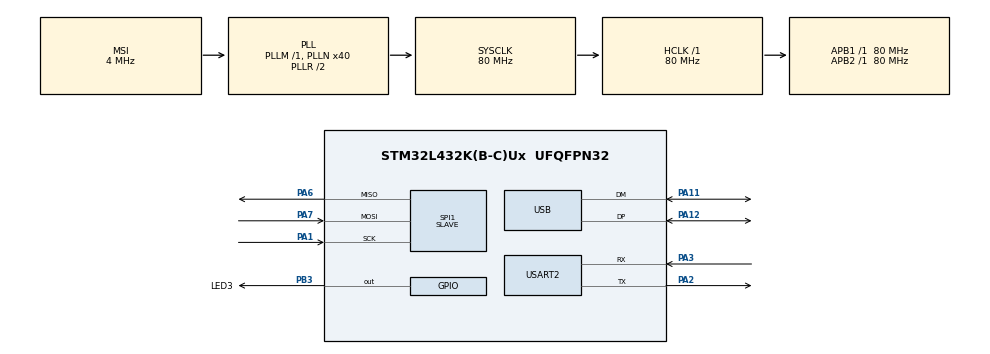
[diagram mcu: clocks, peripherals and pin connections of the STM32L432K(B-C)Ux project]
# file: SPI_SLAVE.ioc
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Mcu.Family=STM32L4
Mcu.Name=STM32L432K(B-C)Ux
Mcu.Package=UFQFPN32
NVIC.PriorityGroup=NVIC_PRIORITYGROUP_4
NVIC.SPI1_IRQn=true\:0\:0\:false\:true\:true\:2\:true\:true
NVIC.TIM2_IRQn=true\:0\:0\:false\:true\:true\:1\:true\:true
NVIC.USART2_IRQn=true\:0\:0\:false\:true\:true\:3\:true\:true
PA0.Mode=HSE-External-Clock-Source-for-LittleOrca
PA0.Signal=RCC_CK_IN
PA1.Mode=Full_Duplex_Slave
PA1.Signal=SPI1_SCK
PA11.Mode=Device
PA11.Signal=USB_DM
PA12.Mode=Device
PA12.Signal=USB_DP
PA13\ (JTMS-SWDIO).Mode=Serial_Wire
PA13\ (JTMS-SWDIO).Signal=SYS_JTMS-SWDIO
PA14\ (JTCK-SWCLK).Mode=Serial_Wire
PA14\ (JTCK-SWCLK).Signal=SYS_JTCK-SWCLK
PA2.Mode=Asynchronous
PA2.Signal=USART2_TX
PA3.Mode=Asynchronous
PA3.Signal=USART2_RX
PA6.Mode=Full_Duplex_Slave
PA6.Signal=SPI1_MISO
PA7.Mode=Full_Duplex_Slave
PA7.Signal=SPI1_MOSI
PB3\ (JTDO-TRACESWO).GPIO_Label=LED3
PB3\ (JTDO-TRACESWO).Signal=GPIO_Output
ProjectManager.HeapSize=0x200
ProjectManager.StackSize=0x400
ProjectManager.TargetToolchain=STM32CubeIDE
RCC.ADCFreq_Value=48000000
RCC.AHBFreq_Value=80000000
RCC.APB1Freq_Value=80000000
RCC.APB1TimFreq_Value=80000000
RCC.APB2Freq_Value=80000000
RCC.APB2TimFreq_Value=80000000
RCC.CortexFreq_Value=80000000
RCC.HCLKFreq_Value=80000000
RCC.HSE_VALUE=8000000
RCC.HSI48_VALUE=48000000
RCC.HSI_VALUE=16000000
RCC.LSE_VALUE=32768
RCC.MSI_VALUE=4000000
RCC.PLLN=40
RCC.PLLSAI1N=24
RCC.SYSCLKFreq_VALUE=80000000
RCC.SYSCLKSource=RCC_SYSCLKSOURCE_PLLCLK
RCC.USBFreq_Value=48000000
RCC.VCOOutputFreq_Value=160000000
SPI1.Direction=SPI_DIRECTION_2LINES
SPI1.Mode=SPI_MODE_SLAVE
SPI1.VirtualType=VM_SLAVE
TIM2.AutoReloadPreload=TIM_AUTORELOAD_PRELOAD_ENABLE
TIM2.Period=799
TIM2.Prescaler=79
USART2.VirtualMode-Asynchronous=VM_ASYNC
VP_TIM2_VS_ClockSourceINT.Mode=Internal
board=custom

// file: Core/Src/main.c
/* USER CODE BEGIN Header */
/**
 ******************************************************************************
 * @file           : main.c
 * @brief          : Main program body
 ******************************************************************************
 */
/* USER CODE END Header */
#include "main.h"
#include "spi.h"
#include "tim.h"
#include "usart.h"
#include "usb.h"
#include "gpio.h"

/* USER CODE BEGIN Includes */
#include <stdio.h>
/* USER CODE END Includes */

/* USER CODE BEGIN PTD */
#define DEVICE_ADDRESS 0X14
/* USER CODE END PTD */

/* USER CODE BEGIN PM */
#ifdef __GNUC__
#define PUTCHAR_PROTOTYPE int __io_putchar(int ch)  // GK  __attribute__((unused)) removes warning
#else
#define PUTCHAR_PROTOTYPE int fputc(int ch, FILE *f)
#endif /* __GNUC__ */

/* USER CODE END PM */

/* USER CODE BEGIN PV */

app_ctx_t app = { 0 }; // Initiate Application structure

/* USER CODE END PV */

void SystemClock_Config(void);
static void MX_NVIC_Init(void);
static int read_temp_sensor(void);

/* USER CODE BEGIN 0 */
/**
 * @brief  Retargets the C library printf function to the USART.
 * @param  None
 * @retval None
 */
PUTCHAR_PROTOTYPE {
	HAL_UART_Transmit(&huart2, (uint8_t*) &ch, 1, HAL_MAX_DELAY);
	return ch;
}

frame_struct_t frame;
/* USER CODE END 0 */

int main(void) {

	/* MCU Configuration--------------------------------------------------------*/

	/* Reset of all peripherals, Initializes the Flash interface and the Systick. */
	HAL_Init();

	/* Configure the system clock */
	SystemClock_Config();

	/* Initialize all configured peripherals */
	MX_GPIO_Init();
	MX_USART2_UART_Init();
	MX_USB_PCD_Init();
	MX_SPI1_Init();
	MX_TIM2_Init();

	/* Initialize interrupts */
	MX_NVIC_Init();
	/* USER CODE BEGIN 2 */
	//Init_Mili_Sec_Timer();
	/* USER CODE END 2 */

	/* Infinite loop */
	while (1) {

		/* USER CODE BEGIN 3 */

		if (HAL_SPI_Receive_IT(&hspi1, (uint8_t*) &app.spi.rec_buff,
				sizeof(frame)) != HAL_OK)   // check is any error on spi rec.
		{
			Error_Handler();
		} else {
			if (app.spi.rec_buff[SYNC_BYTE_1] == DEVICE_ADDRESS)
				app.switch_state = SPI_RX; // if the device address match process frame
		}

		switch (app.switch_state) {
		case REST:
			break;
		case SPI_RX:   // prepare for inbound spi
			app.spi.cmd_fom_serial = app.spi.rec_buff[CMD_BYTE];
			app.spi.sensor_form_serial = app.spi.rec_buff[SENSOR_BYTE];
			app.spi.data = app.spi.rec_buff[DATA_BYTE];
			app.switch_state = PROC;
			break;
		case PROC: // process the request
			switch (app.spi.cmd_fom_serial) {
			case READ:  // process read request
				switch (app.spi.sensor_form_serial) { // sensor for read request
				case LED:
					app.spi.tx_buff[DATA_BYTE] = VAL;
					app.spi.tx_buff[DATA_BYTE_2] = READ_GREEN_LED
							;
					break;
				case TEMP:
					app.spi.tx_buff[DATA_BYTE] = TEMPR;
					app.spi.tx_buff[DATA_BYTE_2] = read_temp_sensor();
					break;
				default:
					break;
				}  //  sensor case close
				break; // Read case vreak
				case WRITE:
					if (app.spi.sensor_form_serial == LED) { // sensor for read request
						if (app.spi.tx_buff[DATA_BYTE]) {
							GREEN_LED_ON
						} else {
							GREEN_LED_OFF
						}
						app.spi.tx_buff[DATA_BYTE] = OK;
					}  //  sensor case close
					break;
				default:
					break;
					app.switch_state = SPI_TX;
			}
			case SPI_TX:
				// prepare for outbound spi
				HAL_SPI_Transmit_IT(&hspi1, (uint8_t*) &app.spi.tx_buff,
						sizeof(frame)); // send data on SPI
				app.switch_state = REST;
				break;
			default:
				break;

		}

	}
	/* USER CODE END 3 */
}

void SystemClock_Config(void) {
	RCC_OscInitTypeDef RCC_OscInitStruct = { 0 };
	RCC_ClkInitTypeDef RCC_ClkInitStruct = { 0 };
	RCC_PeriphCLKInitTypeDef PeriphClkInit = { 0 };

	/** Initializes the RCC Oscillators according to the specified parameters
	 * in the RCC_OscInitTypeDef structure.
	 */
	RCC_OscInitStruct.OscillatorType = RCC_OSCILLATORTYPE_MSI;
	RCC_OscInitStruct.MSIState = RCC_MSI_ON;
	RCC_OscInitStruct.MSICalibrationValue = 0;
	RCC_OscInitStruct.MSIClockRange = RCC_MSIRANGE_6;
	RCC_OscInitStruct.PLL.PLLState = RCC_PLL_ON;
	RCC_OscInitStruct.PLL.PLLSource = RCC_PLLSOURCE_MSI;
	RCC_OscInitStruct.PLL.PLLM = 1;
	RCC_OscInitStruct.PLL.PLLN = 40;
	RCC_OscInitStruct.PLL.PLLP = RCC_PLLP_DIV7;
	RCC_OscInitStruct.PLL.PLLQ = RCC_PLLQ_DIV2;
	RCC_OscInitStruct.PLL.PLLR = RCC_PLLR_DIV2;
	if (HAL_RCC_OscConfig(&RCC_OscInitStruct) != HAL_OK) {
		Error_Handler();
	}
	/** Initializes the CPU, AHB and APB buses clocks
	 */
	RCC_ClkInitStruct.ClockType = RCC_CLOCKTYPE_HCLK | RCC_CLOCKTYPE_SYSCLK
			| RCC_CLOCKTYPE_PCLK1 | RCC_CLOCKTYPE_PCLK2;
	RCC_ClkInitStruct.SYSCLKSource = RCC_SYSCLKSOURCE_PLLCLK;
	RCC_ClkInitStruct.AHBCLKDivider = RCC_SYSCLK_DIV1;
	RCC_ClkInitStruct.APB1CLKDivider = RCC_HCLK_DIV1;
	RCC_ClkInitStruct.APB2CLKDivider = RCC_HCLK_DIV1;

	if (HAL_RCC_ClockConfig(&RCC_ClkInitStruct, FLASH_LATENCY_4) != HAL_OK) {
		Error_Handler();
	}
	PeriphClkInit.PeriphClockSelection = RCC_PERIPHCLK_USART2
			| RCC_PERIPHCLK_USB;
	PeriphClkInit.Usart2ClockSelection = RCC_USART2CLKSOURCE_PCLK1;
	PeriphClkInit.UsbClockSelection = RCC_USBCLKSOURCE_PLLSAI1;
	PeriphClkInit.PLLSAI1.PLLSAI1Source = RCC_PLLSOURCE_MSI;
	PeriphClkInit.PLLSAI1.PLLSAI1M = 1;
	PeriphClkInit.PLLSAI1.PLLSAI1N = 24;
	PeriphClkInit.PLLSAI1.PLLSAI1P = RCC_PLLP_DIV7;
	PeriphClkInit.PLLSAI1.PLLSAI1Q = RCC_PLLQ_DIV2;
	PeriphClkInit.PLLSAI1.PLLSAI1R = RCC_PLLR_DIV2;
	PeriphClkInit.PLLSAI1.PLLSAI1ClockOut = RCC_PLLSAI1_48M2CLK;
	if (HAL_RCCEx_PeriphCLKConfig(&PeriphClkInit) != HAL_OK) {
		Error_Handler();
	}
	/** Configure the main internal regulator output voltage
	 */
	if (HAL_PWREx_ControlVoltageScaling(PWR_REGULATOR_VOLTAGE_SCALE1)
			!= HAL_OK) {
		Error_Handler();
	}
}

/**
 * @brief NVIC Configuration.
 * @retval None
 */
static void MX_NVIC_Init(void) {
	/* TIM2_IRQn interrupt configuration */
	HAL_NVIC_SetPriority(TIM2_IRQn, 0, 0);
	HAL_NVIC_EnableIRQ(TIM2_IRQn);
	/* SPI1_IRQn interrupt configuration */
	HAL_NVIC_SetPriority(SPI1_IRQn, 0, 0);
	HAL_NVIC_EnableIRQ(SPI1_IRQn);
	/* USART2_IRQn interrupt configuration */
	HAL_NVIC_SetPriority(USART2_IRQn, 0, 0);
	HAL_NVIC_EnableIRQ(USART2_IRQn);
}

/* USER CODE BEGIN 4 */

static int read_temp_sensor(void) {

	/*expand  code here for temperature sensor*/
	int temp = 18;
	return temp;
}
/* USER CODE END 4 */

void Error_Handler(void) {
	__disable_irq();
	while (1) {
	}
}

/************************ (C) COPYRIGHT STMicroelectronics *****END OF FILE****/
